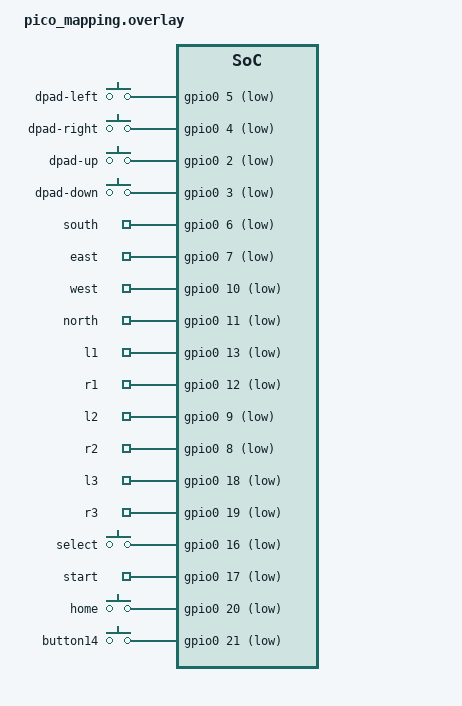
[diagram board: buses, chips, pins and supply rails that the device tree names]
// works for Pico and Pico 2

/ {
    gamepad-buttons {
        compatible = "gpio-keys";
        dpad-left { gpios = <&gpio0 5 (GPIO_PULL_UP | GPIO_ACTIVE_LOW)>; };
        dpad-right { gpios = <&gpio0 4 (GPIO_PULL_UP | GPIO_ACTIVE_LOW)>; };
        dpad-up { gpios = <&gpio0 2 (GPIO_PULL_UP | GPIO_ACTIVE_LOW)>; };
        dpad-down { gpios = <&gpio0 3 (GPIO_PULL_UP | GPIO_ACTIVE_LOW)>; };
        south { gpios = <&gpio0 6 (GPIO_PULL_UP | GPIO_ACTIVE_LOW)>; };
        east { gpios = <&gpio0 7 (GPIO_PULL_UP | GPIO_ACTIVE_LOW)>; };
        west { gpios = <&gpio0 10 (GPIO_PULL_UP | GPIO_ACTIVE_LOW)>; };
        north { gpios = <&gpio0 11 (GPIO_PULL_UP | GPIO_ACTIVE_LOW)>; };
        l1 { gpios = <&gpio0 13 (GPIO_PULL_UP | GPIO_ACTIVE_LOW)>; };
        r1 { gpios = <&gpio0 12 (GPIO_PULL_UP | GPIO_ACTIVE_LOW)>; };
        l2 { gpios = <&gpio0 9 (GPIO_PULL_UP | GPIO_ACTIVE_LOW)>; };
        r2 { gpios = <&gpio0 8 (GPIO_PULL_UP | GPIO_ACTIVE_LOW)>; };
        l3 { gpios = <&gpio0 18 (GPIO_PULL_UP | GPIO_ACTIVE_LOW)>; };
        r3 { gpios = <&gpio0 19 (GPIO_PULL_UP | GPIO_ACTIVE_LOW)>; };
        select { gpios = <&gpio0 16 (GPIO_PULL_UP | GPIO_ACTIVE_LOW)>; };
        start { gpios = <&gpio0 17 (GPIO_PULL_UP | GPIO_ACTIVE_LOW)>; };
        home { gpios = <&gpio0 20 (GPIO_PULL_UP | GPIO_ACTIVE_LOW)>; };
        button14 { gpios = <&gpio0 21 (GPIO_PULL_UP | GPIO_ACTIVE_LOW)>; };
    };

    aliases {
        sys-button = "/gamepad-buttons/start";
    };
};
